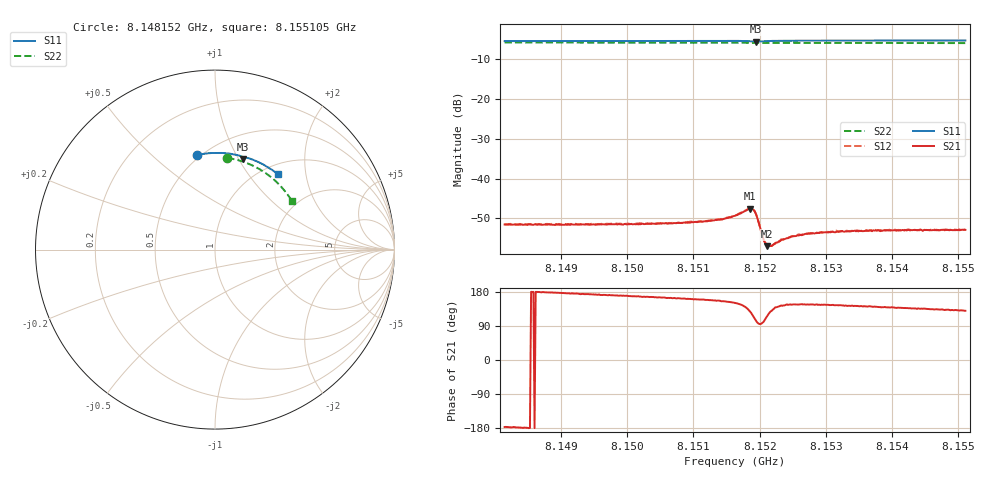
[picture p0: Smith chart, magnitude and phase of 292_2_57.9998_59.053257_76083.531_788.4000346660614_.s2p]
#  HZ  S  RI  R  50.00
! Rohde & Schwarz Vector Network Analyzer
! Rohde-Schwarz,ZNB20-2Port,1311601062101988,3.16
! Created: UTC 3/21/2024, 1:03:20 AM
! freq[Hz]  re:S11  im:S11  re:S21  im:S21  re:S12  im:S12  re:S22  im:S22
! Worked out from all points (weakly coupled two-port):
!   401 points, 8.148152 GHz to 8.155105 GHz, reference 50 ohm
!   highest |S21| = -47.59 dB at 8.151854 GHz (marker M1); lowest = -57.0 dB at 8.152115 GHz (marker M2)
!   lowest |S11| = -5.5 dB at 8.151941 GHz (marker M3), VSWR 3.25, Z = 37.2 + j52.3 ohm
!   |S11| at or under -10 dB: nowhere
!   |S22| runs from -5.9 to -5.8 dB; largest |S21 - S12| = 0.00011
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8.1481515e9  -0.0991 0.527  -0.00263 -0.000149  -0.00264 -0.000122  0.0684 0.5109
8.1493163e9  -0.0186 0.5382  -0.00264 0.000262  -0.00263 0.000306  0.1426 0.4943
8.150481e9  0.0626 0.5367  -0.00261 0.000678  -0.00263 0.000748  0.213 0.4666
8.1511764e9  0.1111 0.5297  -0.0027 0.00105  -0.0027 0.0011  0.2528 0.4455
8.1514371e9  0.1299 0.5255  -0.00277 0.00128  -0.00278 0.00133  0.2671 0.4368
8.1516284e9  0.1438 0.5212  -0.00295 0.00167  -0.00294 0.00174  0.2773 0.4297
8.1518543e9  0.1587 0.5098  -0.00257 0.00329  -0.00258 0.00334  0.2889 0.4213
8.1519065e9  0.1584 0.5061  -0.00168 0.00368  -0.00162 0.00371  0.2915 0.4193
8.1519413e9  0.157 0.5056  -0.000941 0.0035  -0.000878 0.00354  0.2933 0.418
8.151976e9  0.1563 0.5071  -0.000364 0.00296  -0.00032 0.00296  0.2949 0.4167
8.1520282e9  0.1581 0.5101  -0.000218 0.00205  -0.000215 0.00209  0.2978 0.4151
8.152063e9  0.1606 0.5116  -0.00033 0.00163  -0.000348 0.00166  0.2995 0.4138
8.1520803e9  0.1622 0.5121  -0.000452 0.00149  -0.000414 0.00151  0.3005 0.4132
8.1521151e9  0.1651 0.5125  -0.00062 0.00126  -0.000603 0.0013  0.3022 0.4118
8.1521499e9  0.1681 0.5125  -0.000807 0.00116  -0.0008 0.00119  0.304 0.4105
8.152202e9  0.1725 0.5122  -0.00101 0.00107  -0.000999 0.00106  0.3067 0.4083
8.1523585e9  0.1845 0.5097  -0.00138 0.001  -0.0014 0.00101  0.3146 0.4021
8.1524802e9  0.1931 0.5071  -0.00155 0.00104  -0.00156 0.00105  0.3206 0.3972
8.1527931e9  0.2143 0.4994  -0.0017 0.00112  -0.00169 0.00114  0.3357 0.3841
8.1532103e9  0.2413 0.488  -0.00177 0.00125  -0.00174 0.0013  0.3547 0.3655
8.1539578e9  0.2873 0.4636  -0.00167 0.00147  -0.00172 0.00148  0.3865 0.3301
8.1551052e9  0.3522 0.4185  -0.00145 0.00173  -0.00146 0.00177  0.4281 0.2709
